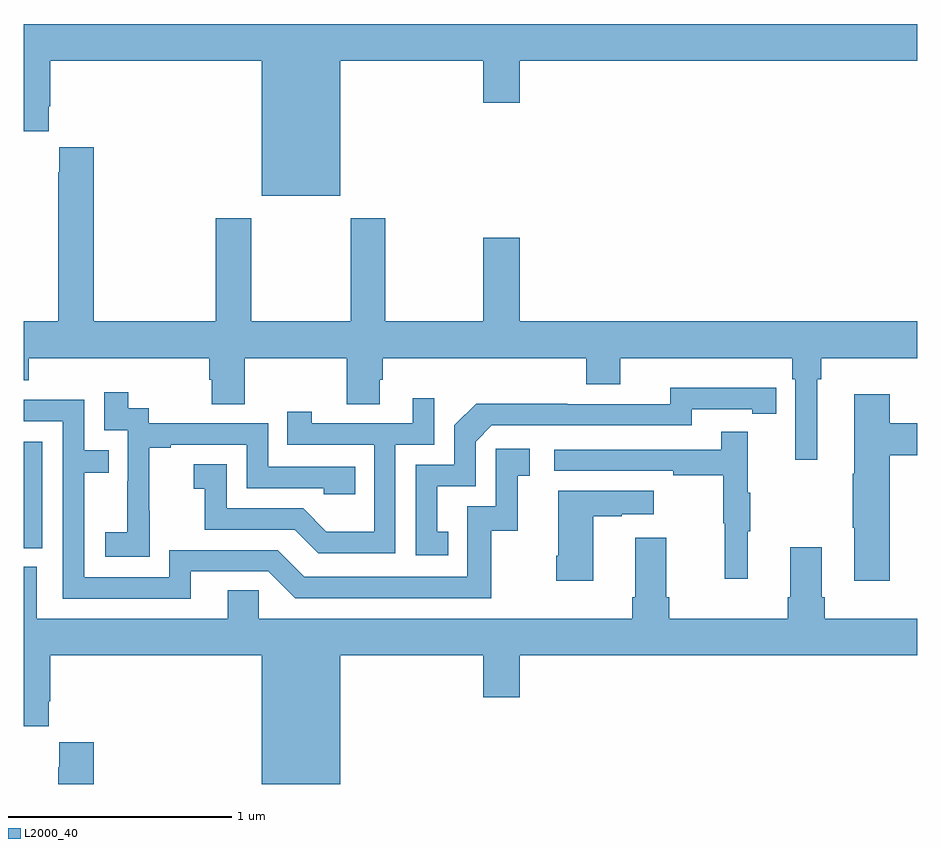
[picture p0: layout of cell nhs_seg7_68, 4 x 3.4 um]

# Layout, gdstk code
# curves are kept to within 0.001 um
import gdstk
lib = gdstk.Library(unit=1e-6, precision=1e-09)
def R(c, l, rs):  # rectangles x0, y0, x1, y1
    for r in rs: c.add(gdstk.rectangle(r[:2], r[2:], *l))
def P(c, l, *ps):  # polygons
    for p in ps: c.add(gdstk.Polygon(p, *l))
L2000_40 = (2000, 40)

nhs_seg7_68 = lib.new_cell('nhs_seg7_68')
R(nhs_seg7_68, L2000_40, [(115,1041.057,115.083,1041.534)])
P(nhs_seg7_68, L2000_40, [(116.416,1043.24),(117.056,1043.24),(117.056,1043.052),(117.22,1043.052),(117.22,1043.24),(119,1043.24),(119,1043.404),(115,1043.404),(115,1042.923),(115.111,1042.923),(115.111,1043.035),(115.118,1043.035),(115.118,1043.24),(116.066,1043.24),(116.066,1042.634),(116.416,1042.634)],
  [(118.552,1041.812),(118.571,1041.812),(118.571,1041.908),(119,1041.908),(119,1042.072),(117.22,1042.072),(117.22,1042.447),(117.056,1042.447),(117.056,1042.072),(116.619,1042.072),(116.619,1042.534),(116.464,1042.534),(116.464,1042.072),(116.019,1042.072),(116.019,1042.534),(115.859,1042.534),(115.859,1042.072),(115.313,1042.072),(115.313,1042.852),(115.157,1042.852),(115.157,1042.739),(115.153,1042.739),(115.153,1042.072),(115,1042.072),(115,1041.809),(115.022,1041.809),(115.022,1041.908),(115.829,1041.908),(115.829,1041.81),(115.841,1041.81),(115.841,1041.7),(115.989,1041.7),(115.989,1041.908),(116.446,1041.908),(116.446,1041.7),(116.593,1041.7),(116.593,1041.81),(116.606,1041.81),(116.606,1041.908),(117.518,1041.908),(117.518,1041.791),(117.67,1041.791),(117.67,1041.908),(118.442,1041.908),(118.442,1041.812),(118.455,1041.812),(118.455,1041.453),(118.552,1041.453)],
  [(116.9,1041.129),(116.851,1041.129),(116.851,1041.333),(117.024,1041.333),(117.024,1041.534),(117.096,1041.606),(117.99,1041.606),(117.99,1041.678),(118.262,1041.678),(118.262,1041.658),(118.37,1041.658),(118.37,1041.774),(117.894,1041.775),(117.894,1041.702),(117.434,1041.702),(117.434,1041.704),(117.026,1041.704),(116.928,1041.606),(116.928,1041.429),(116.754,1041.429),(116.754,1041.024),(116.9,1041.024)],
  [(115.563,1041.223),(115.562,1041.223),(115.562,1041.507),(115.657,1041.507),(115.657,1041.519),(115.998,1041.519),(115.998,1041.324),(116.343,1041.324),(116.343,1041.297),(116.483,1041.297),(116.483,1041.42),(116.094,1041.42),(116.094,1041.615),(115.56,1041.615),(115.56,1041.684),(115.468,1041.684),(115.468,1041.754),(115.359,1041.754),(115.359,1041.585),(115.464,1041.585),(115.464,1041.356),(115.463,1041.356),(115.463,1041.127),(115.365,1041.127),(115.365,1041.017),(115.563,1041.017)],
  [(118.877,1041.473),(119,1041.473),(119,1041.615),(118.877,1041.615),(118.877,1041.745),(118.718,1041.745),(118.718,1041.389),(118.711,1041.389),(118.711,1041.148),(118.718,1041.148),(118.718,1040.91),(118.877,1040.91)],
  [(116.664,1041.519),(116.838,1041.519),(116.838,1041.727),(116.741,1041.727),(116.741,1041.615),(116.29,1041.615),(116.29,1041.667),(116.179,1041.667),(116.179,1041.519),(116.568,1041.519),(116.568,1041.13),(116.354,1041.13),(116.25,1041.234),(115.908,1041.234),(115.908,1041.433),(115.761,1041.433),(115.761,1041.323),(115.81,1041.323),(115.81,1041.138),(116.213,1041.138),(116.318,1041.033),(116.664,1041.033)],
  [(115.747,1040.952),(116.094,1040.952),(116.214,1040.832),(117.094,1040.832),(117.094,1041.135),(117.212,1041.135),(117.212,1041.381),(117.265,1041.381),(117.265,1041.502),(117.114,1041.502),(117.114,1041.243),(116.985,1041.243),(116.985,1040.928),(116.256,1040.928),(116.136,1041.048),(115.65,1041.048),(115.65,1040.925),(115.269,1040.925),(115.269,1041.394),(115.379,1041.394),(115.379,1041.495),(115.269,1041.495),(115.269,1041.72),(115,1041.72),(115,1041.624),(115.173,1041.624),(115.173,1040.829),(115.747,1040.829)],
  [(118.241,1041.131),(118.252,1041.131),(118.252,1041.305),(118.241,1041.305),(118.241,1041.577),(118.123,1041.577),(118.123,1041.498),(117.375,1041.498),(117.375,1041.402),(117.907,1041.402),(117.907,1041.382),(118.131,1041.382),(118.131,1041.168),(118.138,1041.168),(118.138,1040.919),(118.241,1040.919)],
  [(117.55,1041.199),(117.677,1041.199),(117.677,1041.209),(117.82,1041.209),(117.82,1041.313),(117.392,1041.313),(117.392,1041.022),(117.385,1041.022),(117.385,1040.91),(117.55,1040.91)],
  [(116.416,1040.576),(117.056,1040.576),(117.056,1040.388),(117.22,1040.388),(117.22,1040.576),(119,1040.576),(119,1040.74),(118.586,1040.74),(118.586,1040.836),(118.573,1040.836),(118.573,1041.061),(118.433,1041.061),(118.433,1040.836),(118.421,1040.836),(118.421,1040.74),(117.89,1040.74),(117.89,1040.836),(117.877,1040.836),(117.877,1041.103),(117.737,1041.103),(117.737,1040.836),(117.725,1040.836),(117.725,1040.74),(116.052,1040.74),(116.052,1040.867),(115.913,1040.867),(115.913,1040.74),(115.057,1040.74),(115.057,1040.972),(115,1040.972),(115,1040.259),(115.111,1040.259),(115.111,1040.371),(115.118,1040.371),(115.118,1040.576),(116.066,1040.576),(116.066,1040),(116.416,1040)],
  [(115.313,1040.188),(115.157,1040.188),(115.157,1040.075),(115.153,1040.075),(115.153,1040),(115.313,1040)])

lib.write_gds('nhs_seg7_68.gds')
